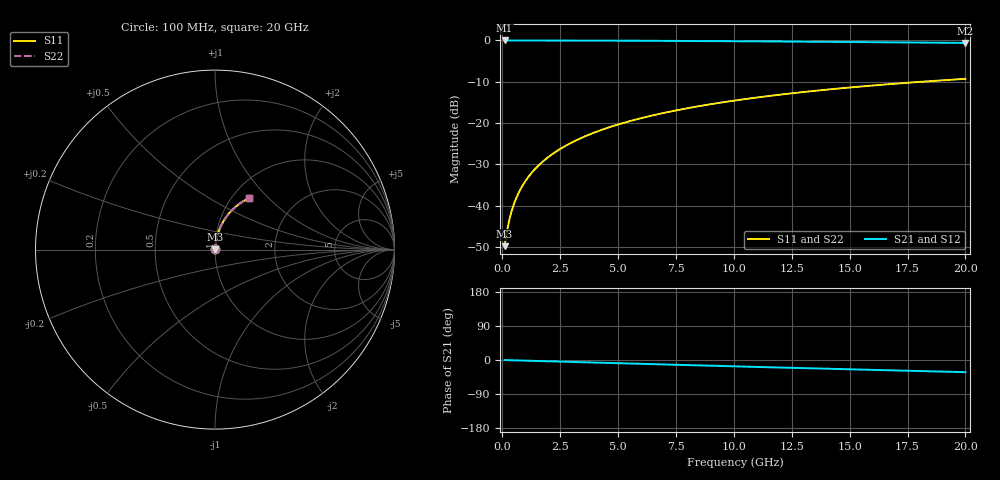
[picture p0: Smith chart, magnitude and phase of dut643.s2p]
! Touchstone file exported from HFSS 2026.1.0
!  File:  C:/ffzhzh/LocalFiles/Ansys_Project_Files/temp_train_TMRDL_643_1783009413_55676.aedt
!  Generated:  12:24:57 AM Jul  3, 2026
!  Design:  TMRDL
!  Project:  temp_train_TMRDL_643_1783009413_55676
! Variables:
!  h_bsmrdl = 2um
!  h_ox = 20um
!  h_rdl = 5um
!  h_sub = 80um
!  h_tmrdl = 2.97um
!  h_tsv = 80um
!  h_via = 3um
!  l_bsmrdl = 300um
!  l_sub = 808.38um
!  l_tmrdl = 408.38um
!  m_sub = 200um
!  pitch = 55.36um
!  r_tsv = 6um
!  s_tmrdl = 10um
!  w_bsmrdl = 18um
!  w_sub = 500um
!  w_tmrdl = 21.63um
!  x_tsv_center1 = 419.195um
!  x_tsv_center2 = 737.195um
!  x_tsv_center3 = 1167.205um
!  x_tsv_center4 = 1485.205um
!  x_tsv_center5 = 1915.215um
!  x_tsv_center6 = 2233.215um
# GHz S MA R 50.000000
! Terminal data exported
! Port[1] = TM_RDL1_1_T1
! Port[2] = TM_RDL1_1_T2
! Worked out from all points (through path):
!   200 points, 100 MHz to 20 GHz, reference 50 ohm
!   highest |S21| = -0.02 dB at 100 MHz (marker M1); lowest = -0.6 dB at 20 GHz (marker M2)
!   group delay of S21, straight-line fit = 4.46 ps
!   lowest |S11| = -49.8 dB at 100 MHz (marker M3), VSWR 1.01, Z = 50.2 + j0.209 ohm
!   |S11| at or under -10 dB: start of sweep to 18.13 GHz
!   |S22| runs from -49.8 to -9.3 dB; largest |S21 - S12| = 2.6e-15
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0.1  0.003245 39.9  0.9975 -0.2  0.9975 -0.2  0.003245 39.9
! Gamma 0 0 0 0
! Port Impedance 50 0 50 0
0.2  0.004871 57.9  0.9974 -0.4  0.9974 -0.4  0.004871 57.9
0.3  0.006701 66.0  0.9973 -0.5  0.9973 -0.5  0.006701 66.0
0.4  0.008574 70.5  0.9972 -0.7  0.9972 -0.7  0.008574 70.5
0.5  0.01046 73.3  0.9971 -0.9  0.9971 -0.9  0.01046 73.3
0.6  0.01234 75.3  0.997 -1.0  0.997 -1.0  0.01234 75.3
0.8  0.01612 77.9  0.9969 -1.4  0.9969 -1.4  0.01612 77.9
1.1  0.02182 79.9  0.9967 -1.9  0.9967 -1.9  0.02182 79.9
1.5  0.02946 81.2  0.9964 -2.6  0.9964 -2.6  0.02946 81.2
1.8  0.0352 81.6  0.9961 -3.1  0.9961 -3.1  0.0352 81.6
2.1  0.04095 81.8  0.9959 -3.6  0.9959 -3.6  0.04095 81.8
2.7  0.05245 81.6  0.9952 -4.6  0.9952 -4.6  0.05245 81.6
3.5  0.06773 81.0  0.9941 -6.0  0.9941 -6.0  0.06773 81.0
4.2  0.08101 80.2  0.9929 -7.1  0.9929 -7.1  0.08101 80.2
5  0.09609 79.1  0.9913 -8.5  0.9913 -8.5  0.09609 79.1
5.9  0.1129 77.8  0.9892 -10.0  0.9892 -10.0  0.1129 77.8
6.8  0.1295 76.5  0.9869 -11.5  0.9869 -11.5  0.1295 76.5
8.3  0.1566 74.2  0.9825 -13.9  0.9825 -13.9  0.1566 74.2
10.1  0.1883 71.4  0.9763 -16.9  0.9763 -16.9  0.1883 71.4
13.4  0.2437 66.3  0.9631 -22.1  0.9631 -22.1  0.2437 66.3
16.7  0.2952 61.4  0.9479 -27.2  0.9479 -27.2  0.2952 61.4
20  0.3427 56.6  0.9314 -32.1  0.9314 -32.1  0.3427 56.6
